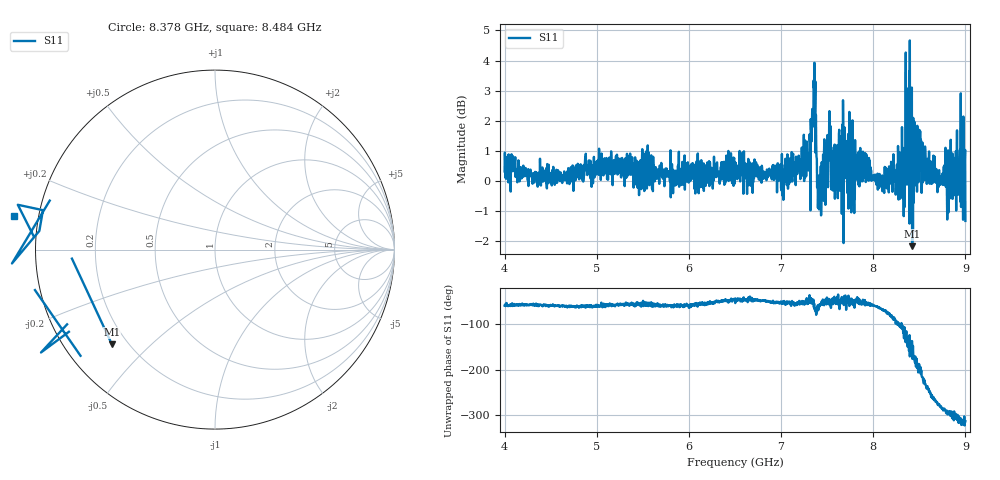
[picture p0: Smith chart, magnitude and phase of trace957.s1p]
! Created with skrf 1.8.0 (http://scikit-rf.org).
# Hz S RI R 50.0
!freq ReS11 ImS11
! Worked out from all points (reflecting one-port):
!   1601 points, 4 GHz to 9 GHz, reference 50 ohm
!   lowest |S11| = -2.2 dB at 8.422 GHz (marker M1), VSWR 8.08, Z = 7.11 - j19.1 ohm
!   phase of S11 starts at -59 deg and turns -255 deg over the sweep
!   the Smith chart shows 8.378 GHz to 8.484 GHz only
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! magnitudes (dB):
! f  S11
! 4 GHz  0.3
! 4.625 GHz  -0.1
! 5.25 GHz  0.5
! 5.875 GHz  0.0
! 6.5 GHz  0.6
! 7.125 GHz  0.4
! 7.294 GHz  0.6
! 7.347 GHz  2.1
! 7.372 GHz  3.3
! 7.412 GHz  -0.9
! 7.512 GHz  1.4
! 7.591 GHz  0.6
! 7.688 GHz  1.8
! 7.75 GHz  0.5
! 7.769 GHz  -0.4
! 7.828 GHz  0.2
! 8.097 GHz  0.2
! 8.259 GHz  0.5
! 8.312 GHz  1.8
! 8.375 GHz  0.5
! 8.422 GHz  -2.2
! 8.447 GHz  2.0
! 8.459 GHz  0.1
! 8.497 GHz  0.6
! 8.712 GHz  0.3
! 8.959 GHz  2.1
! 8.972 GHz  0.6
! 9 GHz  -1.3
